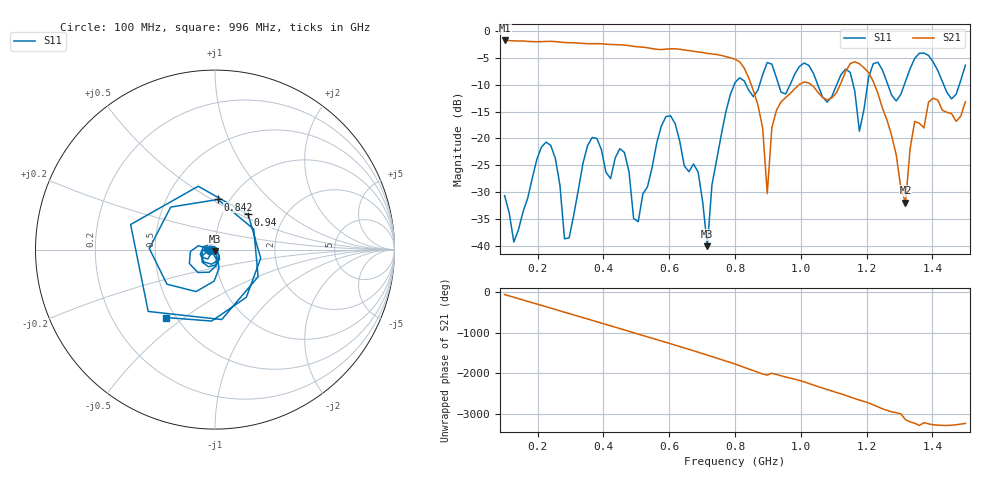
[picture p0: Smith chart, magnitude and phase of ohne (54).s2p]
! NanoVNA-App
! Date: 2025-09-26 09:55:49
! Start: 100MHz Stop: 1,5GHz Points: 101
! S-Parameter data: F S11 S21 S12 S22
# Hz S RI R 50
!  Frequency  S11_Real  S11_Imag  S21_Real  S21_Imag  S12_Real  S12_Imag  S22_Real  S22_Imag
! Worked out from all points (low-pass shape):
!   101 points, 100 MHz to 1.5 GHz, reference 50 ohm
!   highest |S21| = -1.79 dB at 100 MHz (marker M1); lowest = -31.9 dB at 1.318 GHz (marker M2)
!   |S21| within 3 dB of the highest: start of sweep to 771.7 MHz
!   lowest |S11| = -40.0 dB at 716 MHz (marker M3), VSWR 1.02, Z = 49.9 - j0.986 ohm
!   |S11| at or under -10 dB: start of sweep to 797.6 MHz; 833.5 MHz to 874.7 MHz (41.24 MHz wide, 4.83 % of centre); 1.051 GHz to 1.109 GHz (57.75 MHz wide, 5.35 % of centre) (the widest 3 of 7)
!   S12 and S22 are empty: the file has one direction only
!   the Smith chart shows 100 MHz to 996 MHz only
!   S11 on the Smith chart (normalised r, x): 100 MHz: 0.94, -0.01; 842 MHz: 0.88, +0.53; 940 MHz: 1.32, +0.56; 996 MHz: 0.44, -0.43
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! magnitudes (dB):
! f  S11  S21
! 100 MHz  -30.6  -1.8
! 128 MHz  -39.3  -1.9
! 226 MHz  -20.7  -2.0
! 296 MHz  -38.5  -2.2
! 338 MHz  -24.6  -2.3
! 464 MHz  -22.6  -2.6
! 506 MHz  -35.5  -3.0
! 576 MHz  -17.7  -3.5
! 688 MHz  -26.2  -3.9
! 716 MHz  -40.0  -4.2
! 800 MHz  -9.6  -5.3
! 842 MHz  -11.1  -8.8
! 898 MHz  -5.9  -30.2
! 940 MHz  -11.4  -13.2
! 996 MHz  -6.6  -9.9
! 1.038 GHz  -7.8  -10.3
! 1.178 GHz  -18.7  -6.1
! 1.22 GHz  -6.1  -9.4
! 1.276 GHz  -12.0  -19.5
! 1.318 GHz  -9.4  -31.9
! 1.346 GHz  -5.1  -16.8
! 1.5 GHz  -6.4  -13.2
